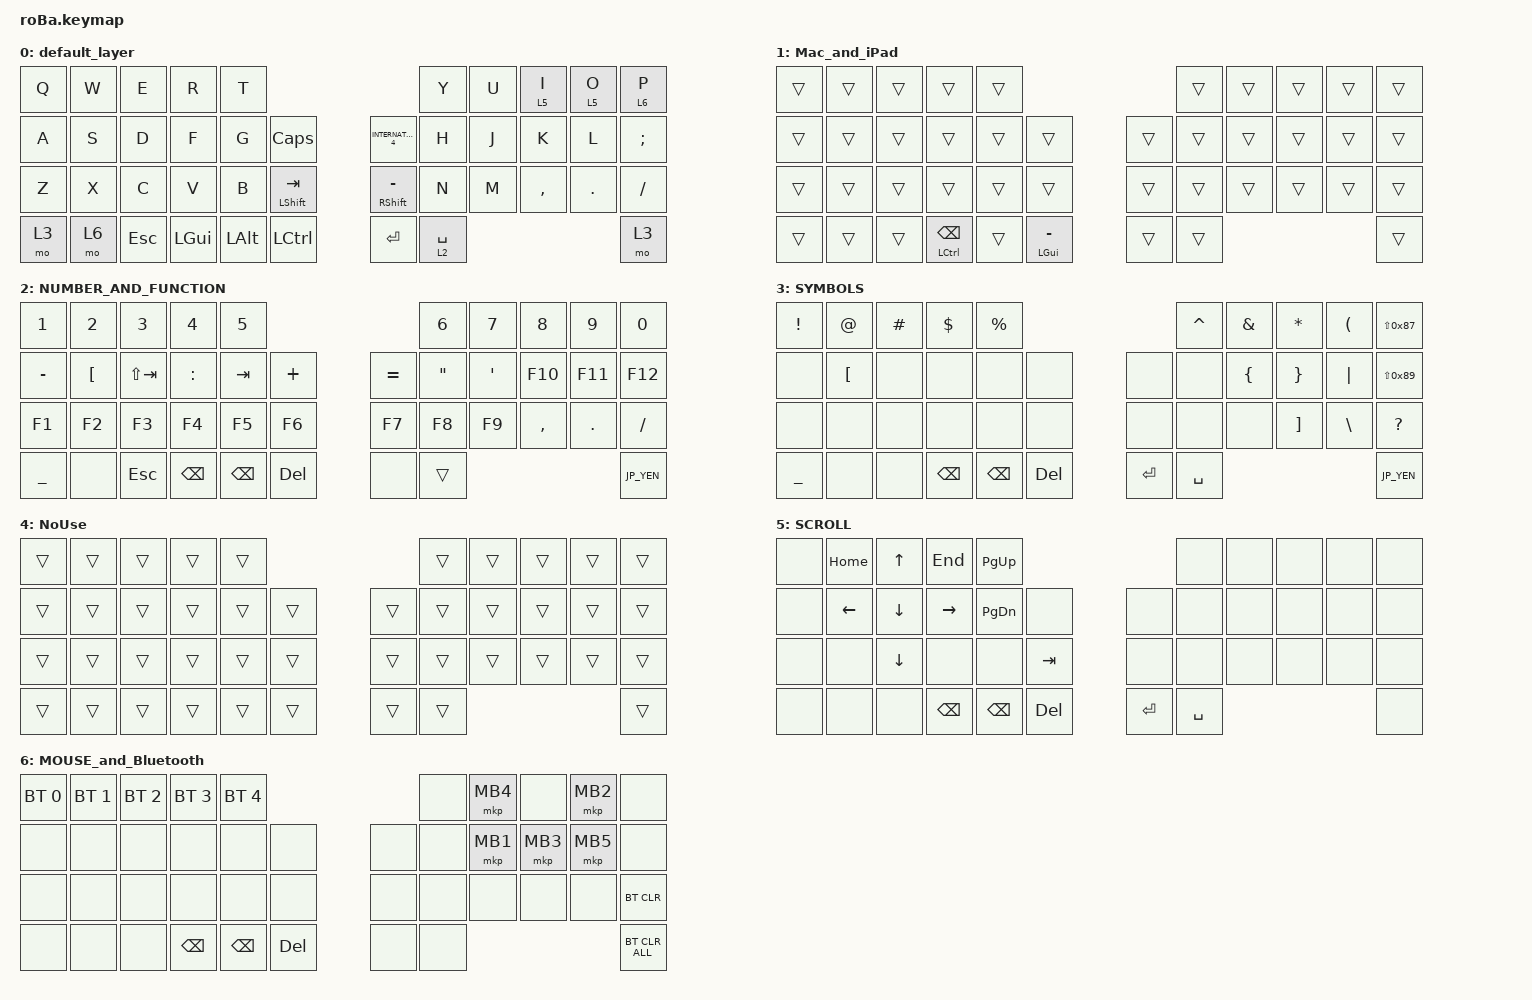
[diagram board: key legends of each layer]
#include <behaviors.dtsi>
#include <dt-bindings/zmk/bt.h>
#include <dt-bindings/zmk/keys.h>
#include <dt-bindings/zmk/pointing.h>

// OS設定を日本語キーボードのまま使用するための変換定義

#define JP_DQUOTE       AT                // "
#define JP_AMPERSAND    CARET             // &
#define JP_QUOTE        AMPERSAND         // '
#define JP_EQUAL        UNDER             // =
#define JP_CARET        EQUAL             // ^
#define JP_YEN          0x89              // ¥
#define JP_PLUS         COLON             // +
#define JP_TILDE        PLUS              // ~
#define JP_PIPE         LS(0x89)          // |
#define JP_AT           LEFT_BRACKET      // @
#define JP_COLON        SINGLE_QUOTE      // :
#define JP_ASTERISK     DOUBLE_QUOTES     // *
#define JP_BACKQUOTE    LEFT_BRACE        // `
#define JP_UNDERSCORE   LS(0x87)          // _
#define JP_LBRACKET     RIGHT_BRACKET     // [
#define JP_RBRACKET     BACKSLASH         // ]
#define JP_LPAREN       ASTERISK          // (
#define JP_RPAREN       LEFT_PARENTHESIS  // )
#define JP_LBRACE       RIGHT_BRACE       // {
#define JP_RBRACE       PIPE              // }
#define JP_KANA         LANGUAGE_1        // かな
#define JP_EISU         LANGUAGE_2        // 英数
#define JP_HANZEN       GRAVE             // 半角/全角

&mt {
    flavor = "balanced";
    quick-tap-ms = <0>;
};

&trackball {
    // automouse-layer = <4>;

    scroll-layers = <5>;

    // arrows {
    //     layers = <3>;
    //     bindings =
    //         <&kp RIGHT_ARROW>,
    //         <&kp LEFT_ARROW>,
    //         <&kp UP_ARROW>,
    //         <&kp DOWN_ARROW>;
    //     tick = <10>;
    //     wait-ms = <5>;
    //     tap-ms = <5>;
    // };
};

/ {
    combos {
        compatible = "zmk,combos";

        tab {
            bindings = <&kp TAB>;
            key-positions = <11 12>;
        };

        shift_tab {
            bindings = <&kp LS(TAB)>;
            key-positions = <12 13>;
        };

        ToggleToL1 {
            bindings = <&tog 1>;
            key-positions = <11 15>;
            layers = <0>;
            require-prior-idle-ms = <1000>;
        };

        WinChangeLanguage {
            bindings = <&kp JP_HANZEN>;
            key-positions = <41 27>;
            timeout-ms = <700>;
            require-prior-idle-ms = <20>;
            layers = <0>;
        };
    };

    macros {
        to_layer_0: to_layer_0 {
            compatible = "zmk,behavior-macro-one-param";
            #binding-cells = <1>;
            bindings = <&to 0 &macro_param_1to1 &kp MACRO_PLACEHOLDER>;
            label = "TO_LAYER_0";
        };
    };

    behaviors {
        lt_to_layer_0: lt_to_layer_0 {
            compatible = "zmk,behavior-hold-tap";
            label = "LAYER_TAP_TO_0";
            bindings = <&mo>, <&to_layer_0>;

            #binding-cells = <2>;
            tapping-term-ms = <200>;
        };
    };

    keymap {
        compatible = "zmk,keymap";

        default_layer {
            bindings = <
&kp Q  &kp W  &kp E       &kp R         &kp T                                                        &kp Y        &kp U  &lt 5 I    &lt 5 O  &lt 6 P
&kp A  &kp S  &kp D       &kp F         &kp G         &kp CAPSLOCK            &kp INTERNATIONAL_4    &kp H        &kp J  &kp K      &kp L    &kp SEMICOLON
&kp Z  &kp X  &kp C       &kp V         &kp B         &mt LEFT_SHIFT TAB      &mt RIGHT_SHIFT MINUS  &kp N        &kp M  &kp COMMA  &kp DOT  &kp SLASH
&mo 3  &mo 6  &kp ESCAPE  &kp LEFT_GUI  &kp LEFT_ALT  &kp LCTRL               &kp ENTER              &lt 2 SPACE                             &mo 3
            >;
        };

        Mac_and_iPad {
            bindings = <
&trans  &trans  &trans  &trans               &trans                                  &trans  &trans  &trans  &trans  &trans
&trans  &trans  &trans  &trans               &trans  &trans                  &trans  &trans  &trans  &trans  &trans  &trans
&trans  &trans  &trans  &trans               &trans  &trans                  &trans  &trans  &trans  &trans  &trans  &trans
&trans  &trans  &trans  &mt LCTRL BACKSPACE  &trans  &mt LEFT_GUI MINUS      &trans  &trans                          &trans
            >;
        };

        NUMBER_AND_FUNCTION {
            bindings = <
&kp N1        &kp N2     &kp N3       &kp N4         &kp N5                                         &kp N6           &kp N7        &kp N8     &kp N9   &kp N0
&kp MINUS     &kp JP_AT  &kp LS(TAB)  &kp JP_PLUS    &kp TAB        &kp JP_TILDE      &kp JP_CARET  &kp JP_ASTERISK  &kp JP_COLON  &kp F10    &kp F11  &kp F12
&kp F1        &kp F2     &kp F3       &kp F4         &kp F5         &kp F6            &kp F7        &kp F8           &kp F9        &kp COMMA  &kp DOT  &kp SLASH
&kp JP_EQUAL  &none      &kp ESCAPE   &kp BACKSPACE  &kp BACKSPACE  &kp DELETE        &none         &trans                                             &kp JP_YEN
            >;
        };

        SYMBOLS {
            bindings = <
&kp EXCLAMATION  &kp JP_DQUOTE  &kp HASH  &kp DOLLAR     &kp PERCENT                               &kp JP_AMPERSAND  &kp JP_QUOTE      &kp JP_LPAREN    &kp JP_RPAREN    &kp JP_UNDERSCORE
&none            &kp JP_AT      &none     &none          &none          &none           &none      &none             &kp JP_BACKQUOTE  &kp JP_LBRACE    &kp JP_RBRACE    &kp JP_PIPE
&none            &none          &none     &none          &none          &none           &none      &none             &none             &kp JP_LBRACKET  &kp JP_RBRACKET  &kp QUESTION
&kp JP_EQUAL     &none          &none     &kp BACKSPACE  &kp BACKSPACE  &kp DELETE      &kp ENTER  &kp SPACE                                                             &kp JP_YEN
            >;
        };

        NoUse {
            bindings = <
&trans  &trans  &trans  &trans  &trans                      &trans  &trans  &trans  &trans  &trans
&trans  &trans  &trans  &trans  &trans  &trans      &trans  &trans  &trans  &trans  &trans  &trans
&trans  &trans  &trans  &trans  &trans  &trans      &trans  &trans  &trans  &trans  &trans  &trans
&trans  &trans  &trans  &trans  &trans  &trans      &trans  &trans                          &trans
            >;
        };

        SCROLL {
            bindings = <
&none  &kp HOME  &kp UP_ARROW    &kp END          &kp PAGE_UP                               &none      &none  &none  &none  &none
&none  &kp LEFT  &kp DOWN_ARROW  &kp RIGHT_ARROW  &kp PAGE_DOWN  &none           &none      &none      &none  &none  &none  &none
&none  &none     &kp DOWN_ARROW  &none            &none          &kp TAB         &none      &none      &none  &none  &none  &none
&none  &none     &none           &kp BACKSPACE    &kp BACKSPACE  &kp DELETE      &kp ENTER  &kp SPACE                       &none
            >;
        };

        MOUSE_and_Bluetooth {
            bindings = <
&bt BT_SEL 0  &bt BT_SEL 1  &bt BT_SEL 2  &bt BT_SEL 3   &bt BT_SEL 4                          &none  &mkp MB4  &none     &mkp MB2  &none
&none         &none         &none         &none          &none          &none           &none  &none  &mkp MB1  &mkp MB3  &mkp MB5  &none
&none         &none         &none         &none          &none          &none           &none  &none  &none     &none     &none     &bt BT_CLR
&none         &none         &none         &kp BACKSPACE  &kp BACKSPACE  &kp DELETE      &none  &none                                &bt BT_CLR_ALL
            >;
        };
    };
};
